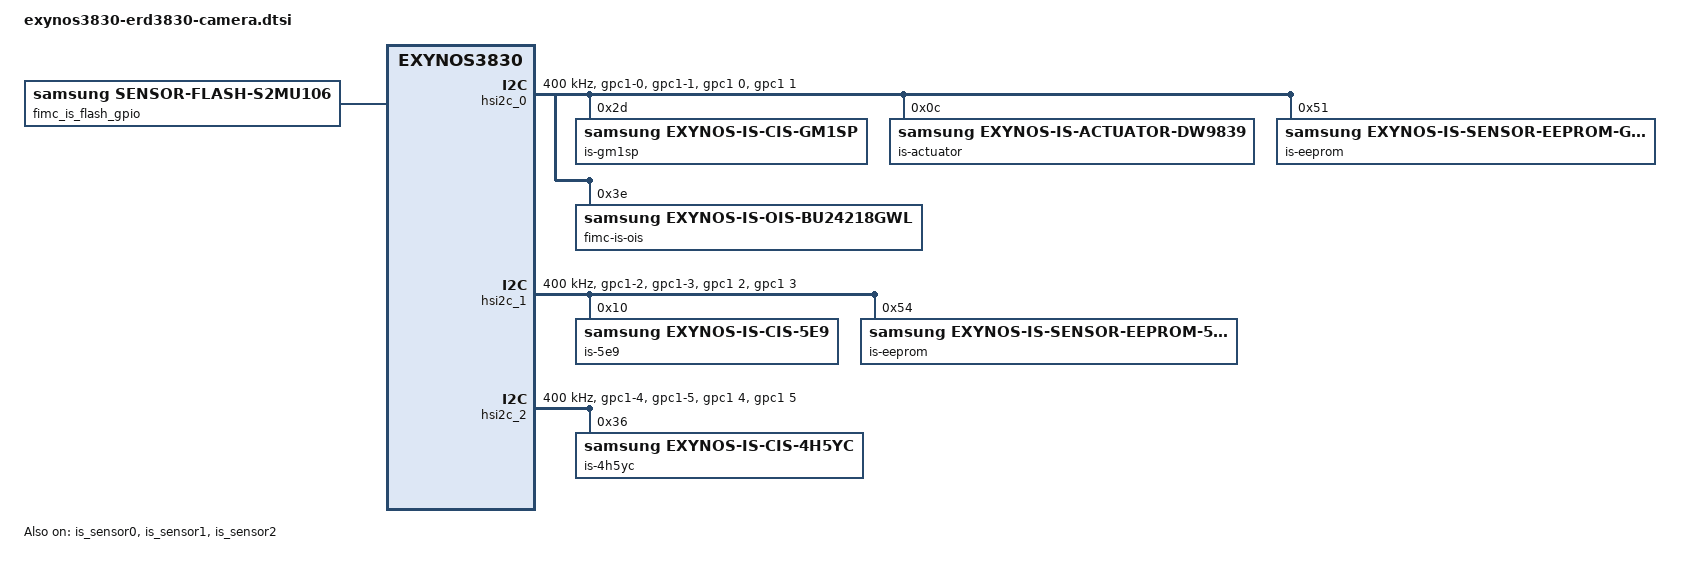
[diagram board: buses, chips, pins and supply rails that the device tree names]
/*
 * Samsung Exynos SoC series Pablo driver
 *
 * Copyright (c) 2019 Samsung Electronics Co., Ltd
 *
 * This program is free software; you can redistribute it and/or modify
 * it under the terms of the GNU General Public License version 2 as
 * published by the Free Software Foundation.
 */

#include <dt-bindings/camera/exynos_is_dt.h>
#include <dt-bindings/interrupt-controller/exynos3830.h>
#include <dt-bindings/clock/exynos3830.h>

#include "camera/module_gm1sp.dtsi"
#include "camera/module_5e9.dtsi"
#include "camera/module_4h5yc.dtsi"

/ {
	fragment@camera {
		target-path = "/";
		__overlay__ {
			/* REAR CAMERA */
			is_sensor_gm1sp: is_sensor_gm1sp@43 {
				pinctrl-names = "pin0", "pin1", "pin2", "release";
				pinctrl-0 = <>;
				pinctrl-1 = <&sensor_mclk0_out>;
				pinctrl-2 = <&sensor_mclk0_fn>;
				pinctrl-3 = <>;

				position = <0>; /* Rear:0. Front:1 */
				id = <0>; /* sensor node id */
				mclk_ch = <0>;
				sensor_i2c_ch = <0>; /* I2C 0 */

				status = "okay";

				af {
					product_name = <23>; /* ACTUATOR_NAME_DW9839 */
					i2c_ch = <0>; /* SENSOR_CONTROL_I2C0 */
				};

				flash {
					product_name = <14>; /* FLASH_S2MU107 */
				};

				ois {
					product_name = <3>; /* OIS_NAME_ROHM_BU24218GWL */
					i2c_ch = <0>; /* SENSOR_CONTROL_I2C1 */
				};

				eeprom {
					product_name = <1>; /* EEPROM_GM1SP */
					i2c_ch = <0>; /* SENSOR_CONTROL_I2C0 */
				};

				power_seq {
					gpio_mclk = <&gpc0 0 0x1>;

					scenario_normal_on {
						/* A start node number should be over the 10 for reserved number 0~9. */
						/* pname = "name"; pin = <act value dealy voltage>; gpio = <gpx# # 0x1>; */
						10 { pname = "MCLK"; pin = <PIN_MCLK 1 0>; };
						20 { pname = "sen_rst low"; pin = <PIN_OUTPUT 0 0>; gpio = <&gpg1 3 0x1>; };
						30 { pname = "vdd_ldo29"; pin = <PIN_REGULATOR 1 0>; };
						40 { pname = "vdd_ldo30"; pin = <PIN_REGULATOR 1 0>; share = <SRT_ACQUIRE SHARED_PIN0 1>; };
						50 { pname = "vdd_ldo31"; pin = <PIN_REGULATOR 1 0>; };
						60 { pname = "vdd_ldo32"; pin = <PIN_REGULATOR 1 1000>; };
						70 { pname = "none"; pin = <PIN_NONE 0 0>; };
						80 { pname = "on_i2c"; pin = <PIN_I2C 1 0>; };
						90 { pname = "pin"; pin = <PIN_FUNCTION 2 0>; };
						100 { pname = "sen_rst high"; pin = <PIN_OUTPUT 1 2000>; gpio = <&gpg1 3 0x1>; };
					};

					scenario_normal_off {
						/* A start node number should be over the 10 for reserved number 0~9. */
						/* pname = "name"; pin = <act value dealy voltage>; gpio = <gpx# # 0x1>; */
						10 { pname = "sen_rst"; pin = <PIN_RESET 0 10>; gpio = <&gpg1 3 0x1>; };
						20 { pname = "sen_rst input"; pin = <PIN_INPUT 0 0>; gpio = <&gpg1 3 0x1>; };
						30 { pname = "vdd_ldo32"; pin = <PIN_REGULATOR 0 0>; };
						40 { pname = "vdd_ldo31"; pin = <PIN_REGULATOR 0 0>; };
						50 { pname = "vdd_ldo30"; pin = <PIN_REGULATOR 0 0>; share = <SRT_RELEASE SHARED_PIN0 0>; };
						60 { pname = "vdd_ldo29"; pin = <PIN_REGULATOR 0 0>; };
						70 { pname = "none"; pin = <PIN_NONE 0 0>; };
						80 { pname = "off_i2c"; pin = <PIN_I2C 0 0>; };
						90 { pname = "pin"; pin = <PIN_FUNCTION 0 0>; };
						100 { pname = "pin"; pin = <PIN_FUNCTION 1 0>; };
						110 { pname = "pin"; pin = <PIN_FUNCTION 0 0>; };
						120 { pname = "MCLK"; pin = <PIN_MCLK 0 0>; };
					};

					scenario_g_active_camera_on {
						sensor_scenario = <SENSOR_SCENARIO_G_ACTIVE_CAMERA>;
						gpio_scenario = <GPIO_SCENARIO_ON>;

						/* A start node number should be over the 10 for reserved number 0~9. */
						/* pname = "name"; pin = <act value dealy voltage>; gpio = <gpx# # 0x1>; */
						10 { pname = "MCLK"; pin = <PIN_MCLK 1 0>; };
						20 { pname = "sen_rst low"; pin = <PIN_OUTPUT 0 0>; gpio = <&gpg1 3 0x1>; };
						30 { pname = "vdd_ldo29"; pin = <PIN_REGULATOR 1 0>; };
						40 { pname = "vdd_ldo30"; pin = <PIN_REGULATOR 1 0>; share = <SRT_ACQUIRE SHARED_PIN0 1>; };
						50 { pname = "vdd_ldo31"; pin = <PIN_REGULATOR 1 0>; };
						60 { pname = "vdd_ldo32"; pin = <PIN_REGULATOR 1 1000>; };
						70 { pname = "none"; pin = <PIN_NONE 0 0>; };
						80 { pname = "on_i2c"; pin = <PIN_I2C 1 0>; };
						90 { pname = "pin"; pin = <PIN_FUNCTION 2 0>; };
						100 { pname = "sen_rst high"; pin = <PIN_OUTPUT 1 2000>; gpio = <&gpg1 3 0x1>; };
					};

					scenario_g_active_camera_off {
						sensor_scenario = <SENSOR_SCENARIO_G_ACTIVE_CAMERA>;
						gpio_scenario = <GPIO_SCENARIO_OFF>;

						/* A start node number should be over the 10 for reserved number 0~9. */
						/* pname = "name"; pin = <act value dealy voltage>; gpio = <gpx# # 0x1>; */
						10 { pname = "sen_rst"; pin = <PIN_RESET 0 10>; gpio = <&gpg1 3 0x1>; };
						20 { pname = "sen_rst input"; pin = <PIN_INPUT 0 0>; gpio = <&gpg1 3 0x1>; };
						30 { pname = "vdd_ldo32"; pin = <PIN_REGULATOR 0 0>; };
						40 { pname = "vdd_ldo31"; pin = <PIN_REGULATOR 0 0>; };
						50 { pname = "vdd_ldo30"; pin = <PIN_REGULATOR 0 0>; share = <SRT_RELEASE SHARED_PIN0 0>; };
						60 { pname = "vdd_ldo29"; pin = <PIN_REGULATOR 0 0>; };
						70 { pname = "none"; pin = <PIN_NONE 0 0>; };
						80 { pname = "off_i2c"; pin = <PIN_I2C 0 0>; };
						90 { pname = "pin"; pin = <PIN_FUNCTION 0 0>; };
						100 { pname = "pin"; pin = <PIN_FUNCTION 1 0>; };
						110 { pname = "pin"; pin = <PIN_FUNCTION 0 0>; };
						120 { pname = "MCLK"; pin = <PIN_MCLK 0 0>; };
					};

				};
			};

			/* FRONT CAMERA */
			is_sensor_4h5yc: is_sensor_4h5yc@24 {
				pinctrl-names = "pin0", "pin1", "pin2", "release";
				pinctrl-0 = <>;
				pinctrl-1 = <&sensor_mclk2_out>;
				pinctrl-2 = <&sensor_mclk2_fn>;
				pinctrl-3 = <>;

				position = <1>; /* Rear:0. Front:1 */
				id = <1>; /* sensor node id */
				mclk_ch = <1>;
				sensor_i2c_ch = <1>;

				status = "okay";

				power_seq {
					gpio_mclk = <&gpc0 1 0x1>;

					scenario_normal_on {
						/* A start node number should be over the 10 for reserved number 0~9. */
						/* pname = "name"; pin = <act value dealy voltage>; gpio = <gpx# # 0x1>; */
						10 { pname = "sen_rst low"; pin = <PIN_OUTPUT 0 0>; gpio = <&gpg1 5 0x1>; };
						20 { pname = "vdd_ldo30"; pin = <PIN_REGULATOR 1 0>; share = <SRT_ACQUIRE SHARED_PIN0 1>; };
						30 { pname = "vt_cam_ldo_en"; pin = <PIN_OUTPUT 1 0>; gpio = <&gpa3 6 0x1>; };
						40 { pname = "none"; pin = <PIN_NONE 0 1000>; };
						50 { pname = "on_i2c"; pin = <PIN_I2C 1 0>; };
						60 { pname = "pin"; pin = <PIN_FUNCTION 2 0>; };
						70 { pname = "MCLK"; pin = <PIN_MCLK 1 0>; };
						80 { pname = "sen_rst high"; pin = <PIN_OUTPUT 1 0>; gpio = <&gpg1 5 0x1>; };
						/* need eeprom pin control */
					};

					scenario_normal_off {
						/* A start node number should be over the 10 for reserved number 0~9. */
						/* pname = "name"; pin = <act value dealy voltage>; gpio = <gpx# # 0x1>; */
						10 { pname = "sen_rst"; pin = <PIN_RESET 0 10>; gpio = <&gpg1 5 0x1>; };
						20 { pname = "sen_rst input"; pin = <PIN_INPUT 0 0>; gpio = <&gpg1 5 0x1>; };
						30 { pname = "vt_cam_ldo_en"; pin = <PIN_OUTPUT 0 0>; gpio = <&gpa3 6 0x1>; };
						40 { pname = "vdd_ldo30"; pin = <PIN_REGULATOR 0 0>; share = <SRT_ACQUIRE SHARED_PIN0 0>; };
						50 { pname = "off_i2c"; pin = <PIN_I2C 0 0>; };
						60 { pname = "pin"; pin = <PIN_FUNCTION 0 0>; };
						70 { pname = "pin"; pin = <PIN_FUNCTION 1 0>; };
						80 { pname = "pin"; pin = <PIN_FUNCTION 0 0>; };
						90 { pname = "MCLK"; pin = <PIN_MCLK 0 0>; };
						/* need eeprom pin control */
					};

					scenario_g_active_camera_on {
						sensor_scenario = <SENSOR_SCENARIO_G_ACTIVE_CAMERA>;
						gpio_scenario = <GPIO_SCENARIO_ON>;
						/* A start node number should be over the 10 for reserved number 0~9. */
						/* pname = "name"; pin = <act value dealy voltage>; gpio = <gpx# # 0x1>; */
						10 { pname = "sen_rst low"; pin = <PIN_OUTPUT 0 0>; gpio = <&gpg1 5 0x1>; };
						20 { pname = "vdd_ldo30"; pin = <PIN_REGULATOR 1 0>; share = <SRT_ACQUIRE SHARED_PIN0 1>; };
						30 { pname = "vt_cam_ldo_en"; pin = <PIN_OUTPUT 1 0>; gpio = <&gpa3 6 0x1>; };
						40 { pname = "none"; pin = <PIN_NONE 0 1000>; };
						50 { pname = "on_i2c"; pin = <PIN_I2C 1 0>; };
						60 { pname = "pin"; pin = <PIN_FUNCTION 2 0>; };
						70 { pname = "MCLK"; pin = <PIN_MCLK 1 0>; };
						80 { pname = "sen_rst high"; pin = <PIN_OUTPUT 1 0>; gpio = <&gpg1 5 0x1>; };
						/* need eeprom pin control */
					};

					scenario_g_active_camera_off {
						sensor_scenario = <SENSOR_SCENARIO_G_ACTIVE_CAMERA>;
						gpio_scenario = <GPIO_SCENARIO_OFF>;
						/* A start node number should be over the 10 for reserved number 0~9. */
						/* pname = "name"; pin = <act value dealy voltage>; gpio = <gpx# # 0x1>; */
						10 { pname = "sen_rst"; pin = <PIN_RESET 0 10>; gpio = <&gpg1 5 0x1>; };
						20 { pname = "sen_rst input"; pin = <PIN_INPUT 0 0>; gpio = <&gpg1 5 0x1>; };
						30 { pname = "vt_cam_ldo_en"; pin = <PIN_OUTPUT 0 0>; gpio = <&gpa3 6 0x1>; };
						40 { pname = "vdd_ldo30"; pin = <PIN_REGULATOR 0 0>; share = <SRT_ACQUIRE SHARED_PIN0 0>; };
						50 { pname = "off_i2c"; pin = <PIN_I2C 0 0>; };
						60 { pname = "pin"; pin = <PIN_FUNCTION 0 0>; };
						70 { pname = "pin"; pin = <PIN_FUNCTION 1 0>; };
						80 { pname = "pin"; pin = <PIN_FUNCTION 0 0>; };
						90 { pname = "MCLK"; pin = <PIN_MCLK 0 0>; };
						/* need eeprom pin control */
					};
				};
			};

			/* Rear Sub CAMERA */
			is_sensor_5e9: is_sensor_5e9@41 {
				pinctrl-names = "pin0", "pin1", "pin2", "release";
				pinctrl-0 = <>;
				pinctrl-1 = <&sensor_mclk1_out>;
				pinctrl-2 = <&sensor_mclk1_fn>;
				pinctrl-3 = <>;

				/* board */
				position = <2>; /* Rear:0. Front:1, Tele:2 */
				id = <2>; /* fimc_is_sensor id */
				mclk_ch = <2>;
				sensor_i2c_ch = <2>; /* SENSOR_CONTROL_I2C5 */

				af {
					product_name = <100>; /* NOTHING */
				};

				flash {
					product_name = <100>; /* NOTHING */
				};

				preprocessor {
					product_name = <100>; /* NOTHING */
				};

				ois {
					product_name = <100>; /* NOTHING */
				};

				eeprom {
					product_name = <2>; /* EEPROM_5E9 */
					i2c_ch = <2>; /* SENSOR_CONTROL_I2C2 */
				};

				power_seq {
					use = <1>;
					gpio_mclk = <&gpc0 2 0x1>;

					scenario_normal_on {
						sensor_scenario = <SENSOR_SCENARIO_NORMAL>;
						gpio_scenario = <GPIO_SCENARIO_ON>;

						/* A start node number should be over the 10 for reserved number 0~9. */
						/* pname = "name"; pin = <act value dealy voltage>; gpio = <gpx# # 0x1>; */
						10 { pname = "MCLK"; pin = <PIN_MCLK 1 0>; };
						20 { pname = "sen_rst low"; pin = <PIN_OUTPUT 0 0>; gpio = <&gpg1 4 0x1>; };
						30 { pname = "dual_cam_ldo_en"; pin = <PIN_OUTPUT 1 0>; gpio = <&gpa3 5 0x1>; };
						40 { pname = "vdd_ldo30"; pin = <PIN_REGULATOR 1 0>; share = <SRT_ACQUIRE SHARED_PIN0 1>; };
						50 { pname = "none"; pin = <PIN_NONE 0 1000>; };
						60 { pname = "pin"; pin = <PIN_FUNCTION 2 1000>; };
						70 { pname = "sen_rst high"; pin = <PIN_OUTPUT 1 1000>; gpio = <&gpg1 4 0x1>; };
						80 { pname = "on_i2c"; pin = <PIN_I2C 1 0>; };
					};

					scenario_normal_off {
						sensor_scenario = <SENSOR_SCENARIO_NORMAL>;
						gpio_scenario = <GPIO_SCENARIO_OFF>;

						/* A start node number should be over the 10 for reserved number 0~9. */
						/* pname = "name"; pin = <act value dealy voltage>; gpio = <gpx# # 0x1>; */
						10 { pname = "pin"; pin = <PIN_FUNCTION 0 0>; };
						20 { pname = "pin"; pin = <PIN_FUNCTION 1 0>; };
						30 { pname = "pin"; pin = <PIN_FUNCTION 0 0>; };
						40 { pname = "vdd_ldo30"; pin = <PIN_REGULATOR 0 0>; share = <SRT_RELEASE SHARED_PIN0 0>; };
						50 { pname = "dual_cam_ldo_en"; pin = <PIN_OUTPUT 0 0>; gpio = <&gpa3 5 0x1>; };
						60 { pname = "none"; pin = <PIN_NONE 0 0>; };
						70 { pname = "sen_rst"; pin = <PIN_OUTPUT 0 0>; gpio = <&gpg1 4 0x1>; };
						80 { pname = "MCLK"; pin = <PIN_MCLK 0 0>; };
						90 { pname = "off_i2c"; pin = <PIN_I2C 0 0>; };
					};

					scenario_g_active_camera_on {
						sensor_scenario = <SENSOR_SCENARIO_G_ACTIVE_CAMERA>;
						gpio_scenario = <GPIO_SCENARIO_ON>;

						/* A start node number should be over the 10 for reserved number 0~9. */
						/* pname = "name"; pin = <act value dealy voltage>; gpio = <gpx# # 0x1>; */
						10 { pname = "MCLK"; pin = <PIN_MCLK 1 0>; };
						20 { pname = "sen_rst low"; pin = <PIN_OUTPUT 0 0>; gpio = <&gpg1 4 0x1>; };
						30 { pname = "dual_cam_ldo_en"; pin = <PIN_OUTPUT 1 0>; gpio = <&gpa3 5 0x1>; };
						40 { pname = "vdd_ldo30"; pin = <PIN_REGULATOR 1 0>; share = <SRT_ACQUIRE SHARED_PIN0 1>; };
						50 { pname = "none"; pin = <PIN_NONE 0 1000>; };
						60 { pname = "pin"; pin = <PIN_FUNCTION 2 1000>; };
						70 { pname = "sen_rst high"; pin = <PIN_OUTPUT 1 1000>; gpio = <&gpg1 4 0x1>; };
						80 { pname = "on_i2c"; pin = <PIN_I2C 1 0>; };
					};

					scenario_g_active_camera_off {
						sensor_scenario = <SENSOR_SCENARIO_VISION>;
						gpio_scenario = <GPIO_SCENARIO_OFF>;

						/* A start node number should be over the 10 for reserved number 0~9. */
						/* pname = "name"; pin = <act value dealy voltage>; gpio = <gpx# # 0x1>; */
						10 { pname = "pin"; pin = <PIN_FUNCTION 0 0>; };
						20 { pname = "pin"; pin = <PIN_FUNCTION 1 0>; };
						30 { pname = "pin"; pin = <PIN_FUNCTION 0 0>; };
						40 { pname = "vdd_ldo30"; pin = <PIN_REGULATOR 0 0>; share = <SRT_RELEASE SHARED_PIN0 0>; };
						50 { pname = "dual_cam_ldo_en"; pin = <PIN_OUTPUT 0 0>; gpio = <&gpa3 5 0x1>; };
						60 { pname = "none"; pin = <PIN_NONE 0 0>; };
						70 { pname = "sen_rst"; pin = <PIN_OUTPUT 0 0>; gpio = <&gpg1 4 0x1>; };
						80 { pname = "MCLK"; pin = <PIN_MCLK 0 0>; };
						90 { pname = "off_i2c"; pin = <PIN_I2C 0 0>; };
					};
				};

			};

			fimc_is_flash_gpio: fimc-is-flash-gpio@0 {
				compatible = "samsung,sensor-flash-s2mu106";
				id = <0>;
				led_ch = <1 2>; /* CH1 ~ CH4, CH0 not exist */
				status = "okay";
			};
		}; /* end of __overlay__ */
	}; /* end of fragment */
}; /* end of root */

/***** reference symbol node *****/

&exynos_is {
	vender {
		rear_sensor_id = <43>; /* GM1SP */
		front_sensor_id = <24>; /* 4H5YC */
		rear2_sensor_id = <41>; /* 5E9 */
	};

	lic_offsets {
		/* 3AA = <setA lic offset0, setA lic offset1, set A trigger context */
		/*		setB lic offset0, setB lic offset1, set B trigger context> */
		/* 4672: 4640x4352 */
		/* 5824: 5804x4352 */
		3AA = <3776 7552 1 3776 7552 2>;
	};

	is_dvfs {
		#define DVFS_INT_L0 667000
		#define DVFS_INT_L1 534000
		#define DVFS_INT_L2 334000
		#define DVFS_INT_L3 200000
		#define DVFS_INT_L4 100000

		#define DVFS_CAM_L0 690000
		#define DVFS_CAM_L1 680000
		#define DVFS_CAM_L2 670000
		#define DVFS_CAM_L3 660000
		#define DVFS_CAM_L4 650000

		#define DVFS_MIF_L0 1794000
		#define DVFS_MIF_L1 1539000
		#define DVFS_MIF_L2 1352000
		#define DVFS_MIF_L3 1014000
		#define DVFS_MIF_L4 845000
		#define DVFS_MIF_L5 676000
		#define DVFS_MIF_L6 546000
		#define DVFS_MIF_L7 421000

		table0 {
			desc = "dvfs table v0.0 for 12M/8M/5M";

			default_cam = <DVFS_CAM_L0>;
			default_mif = <DVFS_MIF_L0>;
			default_int = <DVFS_INT_L0>;
			default_hpg = <0>;

			front_preview_cam = <DVFS_CAM_L2>;
			front_preview_mif = <DVFS_MIF_L5>;
			front_preview_int = <DVFS_INT_L1>;
			front_preview_hpg = <0>;

			front_preview_full_cam = <DVFS_CAM_L2>;
			front_preview_full_mif = <DVFS_MIF_L5>;
			front_preview_full_int = <DVFS_INT_L1>;
			front_preview_full_hpg = <0>;

			front_capture_cam = <DVFS_CAM_L2>;
			front_capture_mif = <DVFS_MIF_L4>;
			front_capture_int = <DVFS_INT_L1>;
			front_capture_hpg = <0>;

			front_video_cam = <DVFS_CAM_L2>;
			front_video_mif = <DVFS_MIF_L3>;
			front_video_int = <DVFS_INT_L1>;
			front_video_hpg = <0>;

			front_video_whd_cam = <DVFS_CAM_L0>;
			front_video_whd_mif = <DVFS_MIF_L0>;
			front_video_whd_int = <DVFS_INT_L0>;
			front_video_whd_hpg = <0>;

			front_video_uhd_cam = <DVFS_CAM_L0>;
			front_video_uhd_mif = <DVFS_MIF_L0>;
			front_video_uhd_int = <DVFS_INT_L0>;
			front_video_uhd_hpg = <0>;

			front_video_capture_cam = <DVFS_CAM_L2>;
			front_video_capture_mif = <DVFS_MIF_L3>;
			front_video_capture_int = <DVFS_INT_L1>;
			front_video_capture_hpg = <0>;

			front_video_whd_capture_cam = <DVFS_CAM_L0>;
			front_video_whd_capture_mif = <DVFS_MIF_L0>;
			front_video_whd_capture_int = <DVFS_INT_L0>;
			front_video_whd_capture_hpg = <0>;

			front_video_uhd_capture_cam = <DVFS_CAM_L0>;
			front_video_uhd_capture_mif = <DVFS_MIF_L0>;
			front_video_uhd_capture_int = <DVFS_INT_L0>;
			front_video_uhd_capture_hpg = <0>;

			front_vt1_cam = <DVFS_CAM_L2>;
			front_vt1_mif = <DVFS_MIF_L5>;
			front_vt1_int = <DVFS_INT_L2>;
			front_vt1_hpg = <0>;

			front_vt2_cam = <DVFS_CAM_L2>;
			front_vt2_mif = <DVFS_MIF_L5>;
			front_vt2_int = <DVFS_INT_L2>;
			front_vt2_hpg = <0>;

			front_vt4_cam = <DVFS_CAM_L2>;
			front_vt4_mif = <DVFS_MIF_L5>;
			front_vt4_int = <DVFS_INT_L2>;
			front_vt4_hpg = <0>;

			front_preview_high_speed_fps_cam = <DVFS_CAM_L0>;
			front_preview_high_speed_fps_mif = <DVFS_MIF_L0>;
			front_preview_high_speed_fps_int = <DVFS_INT_L0>;
			front_preview_high_speed_fps_hpg = <0>;

			rear2_preview_fhd_cam = <DVFS_CAM_L0>;
			rear2_preview_fhd_mif = <DVFS_MIF_L0>;
			rear2_preview_fhd_int = <DVFS_INT_L0>;
			rear2_preview_fhd_hpg = <0>;

			rear2_capture_cam = <DVFS_CAM_L0>;
			rear2_capture_mif = <DVFS_MIF_L0>;
			rear2_capture_int = <DVFS_INT_L0>;
			rear2_capture_hpg = <0>;

			rear2_video_fhd_cam = <DVFS_CAM_L0>;
			rear2_video_fhd_mif = <DVFS_MIF_L0>;
			rear2_video_fhd_int = <DVFS_INT_L0>;
			rear2_video_fhd_hpg = <0>;

			rear2_video_fhd_capture_cam = <DVFS_CAM_L0>;
			rear2_video_fhd_capture_mif = <DVFS_MIF_L0>;
			rear2_video_fhd_capture_int = <DVFS_INT_L0>;
			rear2_video_fhd_capture_hpg = <0>;

			rear_preview_fhd_cam = <DVFS_CAM_L2>;
			rear_preview_fhd_mif = <DVFS_MIF_L5>;
			rear_preview_fhd_int = <DVFS_INT_L1>;
			rear_preview_fhd_hpg = <0>;

			rear_preview_whd_cam = <DVFS_CAM_L0>;
			rear_preview_whd_mif = <DVFS_MIF_L0>;
			rear_preview_whd_int = <DVFS_INT_L0>;
			rear_preview_whd_hpg = <0>;

			rear_preview_uhd_cam = <DVFS_CAM_L0>;
			rear_preview_uhd_mif = <DVFS_MIF_L0>;
			rear_preview_uhd_int = <DVFS_INT_L0>;
			rear_preview_uhd_hpg = <0>;

			rear_preview_uhd_60fps_cam = <DVFS_CAM_L0>;
			rear_preview_uhd_60fps_mif = <DVFS_MIF_L0>;
			rear_preview_uhd_60fps_int = <DVFS_INT_L0>;
			rear_preview_uhd_60fps_hpg = <0>;

			rear_preview_full_cam = <DVFS_CAM_L2>;
			rear_preview_full_mif = <DVFS_MIF_L5>;
			rear_preview_full_int = <DVFS_INT_L1>;
			rear_preview_full_hpg = <0>;

			rear_capture_cam = <DVFS_CAM_L2>;
			rear_capture_mif = <DVFS_MIF_L4>;
			rear_capture_int = <DVFS_INT_L1>;
			rear_capture_hpg = <0>;

			rear_video_fhd_cam = <DVFS_CAM_L2>;
			rear_video_fhd_mif = <DVFS_MIF_L4>;
			rear_video_fhd_int = <DVFS_INT_L1>;
			rear_video_fhd_hpg = <0>;

			rear_video_whd_cam = <DVFS_CAM_L0>;
			rear_video_whd_mif = <DVFS_MIF_L0>;
			rear_video_whd_int = <DVFS_INT_L0>;
			rear_video_whd_hpg = <0>;

			rear_video_uhd_cam = <DVFS_CAM_L0>;
			rear_video_uhd_mif = <DVFS_MIF_L0>;
			rear_video_uhd_int = <DVFS_INT_L0>;
			rear_video_uhd_hpg = <0>;

			rear_video_uhd_60fps_cam = <DVFS_CAM_L0>;
			rear_video_uhd_60fps_mif = <DVFS_MIF_L0>;
			rear_video_uhd_60fps_int = <DVFS_INT_L0>;
			rear_video_uhd_60fps_hpg = <0>;

			rear_video_fhd_capture_cam = <DVFS_CAM_L2>;
			rear_video_fhd_capture_mif = <DVFS_MIF_L3>;
			rear_video_fhd_capture_int = <DVFS_INT_L1>;
			rear_video_fhd_capture_hpg = <0>;

			rear_video_whd_capture_cam = <DVFS_CAM_L0>;
			rear_video_whd_capture_mif = <DVFS_MIF_L0>;
			rear_video_whd_capture_int = <DVFS_INT_L0>;
			rear_video_whd_capture_hpg = <0>;

			rear_video_uhd_capture_cam = <DVFS_CAM_L0>;
			rear_video_uhd_capture_mif = <DVFS_MIF_L0>;
			rear_video_uhd_capture_int = <DVFS_INT_L0>;
			rear_video_uhd_capture_hpg = <0>;

			dual_preview_cam = <DVFS_CAM_L0>;
			dual_preview_mif = <DVFS_MIF_L0>;
			dual_preview_int = <DVFS_INT_L0>;
			dual_preview_hpg = <0>;

			dual_capture_cam = <DVFS_CAM_L0>;
			dual_capture_mif = <DVFS_MIF_L0>;
			dual_capture_int = <DVFS_INT_L0>;
			dual_capture_hpg = <0>;

			dual_video_fhd_cam = <DVFS_CAM_L0>;
			dual_video_fhd_mif = <DVFS_MIF_L0>;
			dual_video_fhd_int = <DVFS_INT_L0>;
			dual_video_fhd_hpg = <0>;

			dual_video_fhd_capture_cam = <DVFS_CAM_L0>;
			dual_video_fhd_capture_mif = <DVFS_MIF_L0>;
			dual_video_fhd_capture_int = <DVFS_INT_L0>;
			dual_video_fhd_capture_hpg = <0>;

			dual_video_uhd_cam = <DVFS_CAM_L0>;
			dual_video_uhd_mif = <DVFS_MIF_L0>;
			dual_video_uhd_int = <DVFS_INT_L0>;
			dual_video_uhd_hpg = <0>;

			dual_video_uhd_capture_cam = <DVFS_CAM_L0>;
			dual_video_uhd_capture_mif = <DVFS_MIF_L0>;
			dual_video_uhd_capture_int = <DVFS_INT_L0>;
			dual_video_uhd_capture_hpg = <0>;

			dual_sync_preview_cam = <DVFS_CAM_L0>;
			dual_sync_preview_mif = <DVFS_MIF_L0>;
			dual_sync_preview_int = <DVFS_INT_L0>;
			dual_sync_preview_hpg = <0>;

			dual_sync_capture_cam = <DVFS_CAM_L0>;
			dual_sync_capture_mif = <DVFS_MIF_L0>;
			dual_sync_capture_int = <DVFS_INT_L0>;
			dual_sync_capture_hpg = <0>;

			dual_sync_preview_whd_cam = <DVFS_CAM_L0>;
			dual_sync_preview_whd_mif = <DVFS_MIF_L0>;
			dual_sync_preview_whd_int = <DVFS_INT_L0>;
			dual_sync_preview_whd_hpg = <0>;

			dual_sync_whd_capture_cam = <DVFS_CAM_L0>;
			dual_sync_whd_capture_mif = <DVFS_MIF_L0>;
			dual_sync_whd_capture_int = <DVFS_INT_L0>;
			dual_sync_whd_capture_hpg = <0>;

			dual_sync_video_fhd_cam = <DVFS_CAM_L0>;
			dual_sync_video_fhd_mif = <DVFS_MIF_L0>;
			dual_sync_video_fhd_int = <DVFS_INT_L0>;
			dual_sync_video_fhd_hpg = <0>;

			dual_sync_video_fhd_capture_cam = <DVFS_CAM_L0>;
			dual_sync_video_fhd_capture_mif = <DVFS_MIF_L0>;
			dual_sync_video_fhd_capture_int = <DVFS_INT_L0>;
			dual_sync_video_fhd_capture_hpg = <0>;

			dual_sync_video_uhd_cam = <DVFS_CAM_L0>;
			dual_sync_video_uhd_mif = <DVFS_MIF_L0>;
			dual_sync_video_uhd_int = <DVFS_INT_L0>;
			dual_sync_video_uhd_hpg = <0>;

			dual_sync_video_uhd_capture_cam = <DVFS_CAM_L0>;
			dual_sync_video_uhd_capture_mif = <DVFS_MIF_L0>;
			dual_sync_video_uhd_capture_int = <DVFS_INT_L0>;
			dual_sync_video_uhd_capture_hpg = <0>;

			secure_front_cam = <DVFS_CAM_L0>;
			secure_front_mif = <DVFS_MIF_L0>;
			secure_front_int = <DVFS_INT_L0>;
			secure_front_hpg = <0>;

			pip_preview_cam = <DVFS_CAM_L0>;
			pip_preview_mif = <DVFS_MIF_L0>;
			pip_preview_int = <DVFS_INT_L0>;
			pip_preview_hpg = <0>;

			pip_capture_cam = <DVFS_CAM_L0>;
			pip_capture_mif = <DVFS_MIF_L0>;
			pip_capture_int = <DVFS_INT_L0>;
			pip_capture_hpg = <0>;

			pip_video_cam = <DVFS_CAM_L0>;
			pip_video_mif = <DVFS_MIF_L0>;
			pip_video_int = <DVFS_INT_L0>;
			pip_video_hpg = <0>;

			pip_video_capture_cam = <DVFS_CAM_L0>;
			pip_video_capture_mif = <DVFS_MIF_L0>;
			pip_video_capture_int = <DVFS_INT_L0>;
			pip_video_capture_hpg = <0>;

			preview_high_speed_fps_cam = <DVFS_CAM_L0>;
			preview_high_speed_fps_mif = <DVFS_MIF_L0>;
			preview_high_speed_fps_int = <DVFS_INT_L0>;
			preview_high_speed_fps_hpg = <0>;

			video_high_speed_60fps_cam = <DVFS_CAM_L0>;
			video_high_speed_60fps_mif = <DVFS_MIF_L0>;
			video_high_speed_60fps_int = <DVFS_INT_L0>;
			video_high_speed_60fps_hpg = <0>;

			video_high_speed_120fps_cam = <DVFS_CAM_L0>;
			video_high_speed_120fps_mif = <DVFS_MIF_L0>;
			video_high_speed_120fps_int = <DVFS_INT_L0>;
			video_high_speed_120fps_hpg = <0>;

			video_high_speed_240fps_cam = <DVFS_CAM_L0>;
			video_high_speed_240fps_mif = <DVFS_MIF_L0>;
			video_high_speed_240fps_int = <DVFS_INT_L0>;
			video_high_speed_240fps_hpg = <0>;

			video_high_speed_dualfps_cam = <DVFS_CAM_L0>;
			video_high_speed_dualfps_mif = <DVFS_MIF_L0>;
			video_high_speed_dualfps_int = <DVFS_INT_L0>;
			video_high_speed_dualfps_hpg = <0>;

			video_high_speed_60fps_capture_cam = <DVFS_CAM_L0>;
			video_high_speed_60fps_capture_mif = <DVFS_MIF_L0>;
			video_high_speed_60fps_capture_int = <DVFS_INT_L0>;
			video_high_speed_60fps_capture_hpg = <0>;

			ext_front_cam = <DVFS_CAM_L0>;
			ext_front_mif = <DVFS_MIF_L0>;
			ext_front_int = <DVFS_INT_L0>;
			ext_front_hpg = <0>;

			ext_secure_cam = <DVFS_CAM_L0>;
			ext_secure_mif = <DVFS_MIF_L0>;
			ext_secure_int = <DVFS_INT_L0>;
			ext_secure_hpg = <0>;

			max_cam = <DVFS_CAM_L0>;
			max_mif = <DVFS_MIF_L0>;
			max_int = <DVFS_INT_L0>;
			max_hpg = <0>;
		};
	};
};

&pinctrl_5 {
	/* REAR */
	/* No pull-up resistor, use internal one */
	hsi2c_0_bus: hsi2c_0-bus {
		samsung,pins = "gpc1-0", "gpc1-1";
		samsung,pin-function = <2>;
		samsung,pin-pud = <3>;
		samsung,pin-drv = <0>;
	};

	hsi2c_0_bus_in: hsi2c_0-bus-in {
		samsung,pins = "gpc1-0", "gpc1-1";
		samsung,pin-function = <3>;
		samsung,pin-pud = <3>;
		samsung,pin-drv = <0>;
	};

	/* FORONT */
	/* No pull-up resistor, use internal one */
	hsi2c_2_bus: hsi2c_2-bus {
		samsung,pins = "gpc1-4", "gpc1-5";
		samsung,pin-function = <2>;
		samsung,pin-pud = <3>;
		samsung,pin-drv = <0>;
	};

	hsi2c_2_bus_in: hsi2c_2-bus-in {
		samsung,pins = "gpc1-4", "gpc1-5";
		samsung,pin-function = <3>;
		samsung,pin-pud = <3>;
		samsung,pin-drv = <0>;
	};

	/* REAR2 */
	/* No pull-up resistor, use internal one */
	hsi2c_1_bus: hsi2c_1-bus {
		samsung,pins = "gpc1-2", "gpc1-3";
		samsung,pin-function = <2>;
		samsung,pin-pud = <3>;
		samsung,pin-drv = <0>;
	};

	hsi2c_1_bus_in: hsi2c_1-bus-in {
		samsung,pins = "gpc1-2", "gpc1-3";
		samsung,pin-function = <3>;
		samsung,pin-pud = <3>;
		samsung,pin-drv = <0>;
	};
};

&hsi2c_0 {
	#address-cells = <1>;
	#size-cells = <0>;
	gpios = <&gpc1 0 0 &gpc1 1 0>;
	status = "okay";
	clock-frequency = <400000>;
	samsung,reset-before-trans;
	samsung,fast-plus-mode;

	pinctrl-names = "default","on_i2c","off_i2c";
	pinctrl-0 = <&hsi2c_0_bus_in>;
	pinctrl-1 = <&hsi2c_0_bus>;
	pinctrl-2 = <&hsi2c_0_bus_in>;

	is-gm1sp@2D {
		compatible = "samsung,exynos-is-cis-gm1sp";
		reg = <0x2D>;
		id = <0>; /* matching sensor id */
		setfile = "setB";
		use_initial_ae;
	};

	is-actuator@72 {
		compatible = "samsung,exynos-is-actuator-dw9839";
		reg = <0x0C>;
		id = <0>; /* matching is_sensor id */
		place = <0>;
	};

	is-eeprom@51 {
		compatible = "samsung,exynos-is-sensor-eeprom-gm1";
		reg = <0x51>;
		id = <0>; /* matching is_sensor id */
	};

	fimc-is-ois@3e {
		compatible = "samsung,exynos-is-ois-bu24218gwl";
		reg = <0x3e>;
		id = <0>;
		place = <0>;
	};
};

&hsi2c_1 {
	#address-cells = <1>;
	#size-cells = <0>;
	gpios = <&gpc1 2 0 &gpc1 3 0>;
	status = "okay";
	clock-frequency = <400000>;

	pinctrl-names = "default","on_i2c","off_i2c";
	pinctrl-0 = <&hsi2c_1_bus_in>;
	pinctrl-1 = <&hsi2c_1_bus>;
	pinctrl-2 = <&hsi2c_1_bus_in>;

	is-5e9@10 {
		compatible = "samsung,exynos-is-cis-5e9";
		reg = <0x10>;
		id = <2>; /* matching sensor id */
		setfile = "setB";
		use_initial_ae;
	};

	is-eeprom@51 {
		compatible = "samsung,exynos-is-sensor-eeprom-5e9";
		reg = <0x54>;
		id = <2>; /* matching sensor id */
	};
};

&hsi2c_2 {
	#address-cells = <1>;
	#size-cells = <0>;
	gpios = <&gpc1 4 0 &gpc1 5 0>;
	status = "okay";
	clock-frequency = <400000>;
	samsung,reset-before-trans;
	samsung,fast-plus-mode;

	pinctrl-names = "default","on_i2c","off_i2c";
	pinctrl-0 = <&hsi2c_2_bus_in>;
	pinctrl-1 = <&hsi2c_2_bus>;
	pinctrl-2 = <&hsi2c_2_bus_in>;

	is-4h5yc@36 {
		compatible = "samsung,exynos-is-cis-4h5yc";
		reg = <0x36>;
		id = <1>; /* matching sensor id */
		setfile = "setB";
		use_initial_ae;
	};
};

&is_sensor0 {
	#address-cells = <1>;
	#size-cells = <1>;
	scenario = <SENSOR_SCENARIO_NORMAL>;	/* Normal, Vision, OIS etc */
	id = <0>;
	csi_ch = <0>;
	dma_ch = <0 0 0 0>;
	vc_ch = <0 1 2 3>;
	flite_ch = <FLITE_ID_NOTHING>;
	is_bns = <0>;
	status = "okay";
};

&is_sensor1 {
	#address-cells = <1>;
	#size-cells = <1>;
	scenario = <SENSOR_SCENARIO_NORMAL>;    /* Normal, Vision, OIS etc */
	id = <1>;
	csi_ch = <1>;
	dma_ch = <1 1 1 1>;
	vc_ch = <0 1 2 3>;
	flite_ch = <FLITE_ID_NOTHING>;
	is_bns = <0>;
	status = "okay";
};

&is_sensor2 {
	#address-cells = <1>;
	#size-cells = <1>;
	scenario = <SENSOR_SCENARIO_NORMAL>;    /* Normal, Vision, OIS etc */
	id = <2>;
	csi_ch = <2>;
	dma_ch = <1 1 1 1>;
	vc_ch = <0 1 2 3>;
	flite_ch = <FLITE_ID_NOTHING>;
	is_bns = <0>;
	status = "okay";
};
